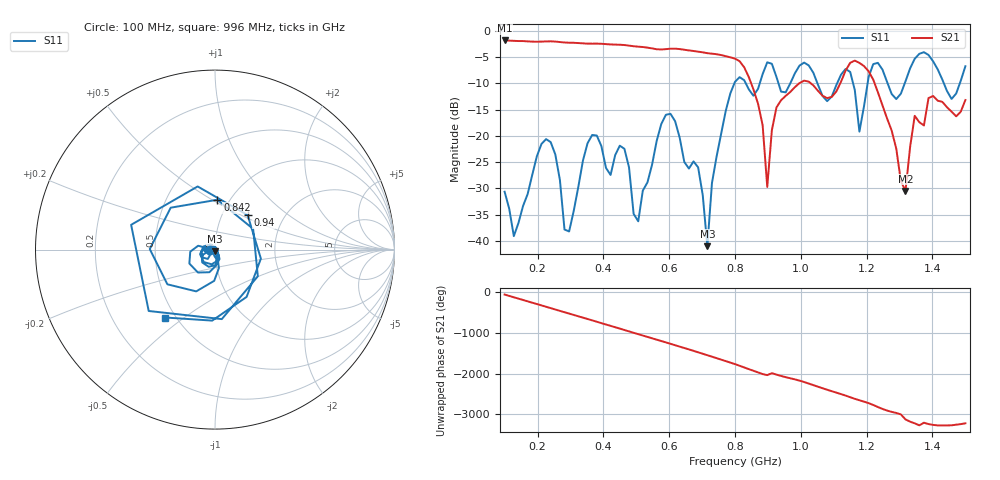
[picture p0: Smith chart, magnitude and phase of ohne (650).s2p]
! NanoVNA-App
! Date: 2025-09-25 14:25:51
! Start: 100MHz Stop: 1,5GHz Points: 101
! S-Parameter data: F S11 S21 S12 S22
# Hz S RI R 50
!  Frequency  S11_Real  S11_Imag  S21_Real  S21_Imag  S12_Real  S12_Imag  S22_Real  S22_Imag
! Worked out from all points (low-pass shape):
!   101 points, 100 MHz to 1.5 GHz, reference 50 ohm
!   highest |S21| = -1.79 dB at 100 MHz (marker M1); lowest = -30.5 dB at 1.318 GHz (marker M2)
!   |S21| within 3 dB of the highest: start of sweep to 771.9 MHz
!   lowest |S11| = -41.0 dB at 716 MHz (marker M3), VSWR 1.02, Z = 49.8 - j0.858 ohm
!   |S11| at or under -10 dB: start of sweep to 797.9 MHz; 833 MHz to 875.1 MHz (42.06 MHz wide, 4.92 % of centre); 1.051 GHz to 1.11 GHz (59.43 MHz wide, 5.5 % of centre) (the widest 3 of 7)
!   S12 and S22 are empty: the file has one direction only
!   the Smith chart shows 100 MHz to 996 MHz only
!   S11 on the Smith chart (normalised r, x): 100 MHz: 0.94, -0.01; 842 MHz: 0.88, +0.53; 940 MHz: 1.32, +0.54; 996 MHz: 0.44, -0.43
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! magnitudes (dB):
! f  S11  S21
! 100 MHz  -30.6  -1.8
! 128 MHz  -39.1  -1.9
! 226 MHz  -20.6  -2.0
! 296 MHz  -38.2  -2.2
! 338 MHz  -24.7  -2.3
! 464 MHz  -22.5  -2.7
! 506 MHz  -36.3  -3.0
! 576 MHz  -17.7  -3.5
! 688 MHz  -26.0  -3.9
! 716 MHz  -41.0  -4.2
! 800 MHz  -9.7  -5.3
! 842 MHz  -11.1  -8.8
! 898 MHz  -6.0  -29.7
! 940 MHz  -11.5  -13.2
! 996 MHz  -6.6  -9.9
! 1.038 GHz  -8.0  -10.4
! 1.178 GHz  -19.2  -6.1
! 1.22 GHz  -6.3  -9.3
! 1.276 GHz  -12.0  -19.0
! 1.318 GHz  -9.6  -30.5
! 1.346 GHz  -5.3  -16.2
! 1.5 GHz  -6.7  -13.2
